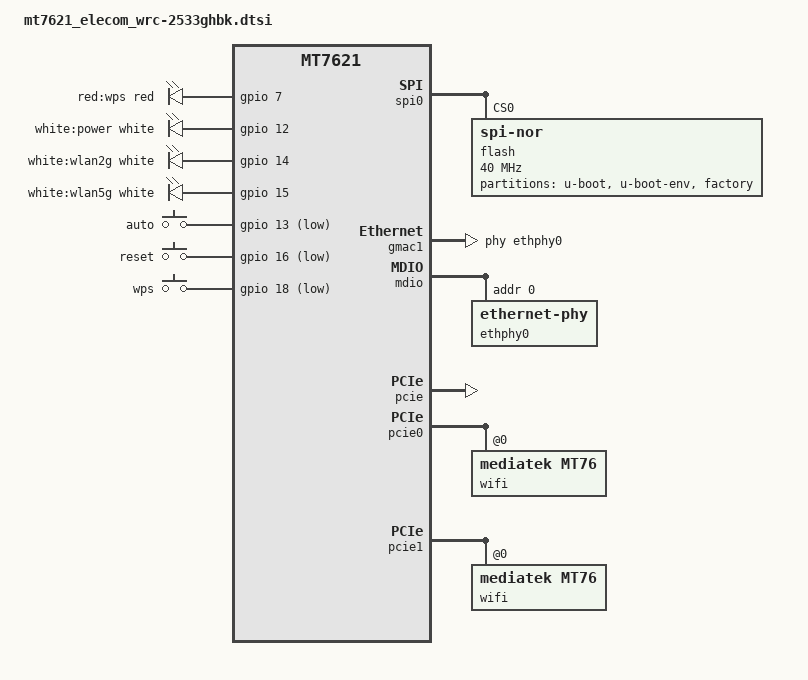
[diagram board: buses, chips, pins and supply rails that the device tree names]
// SPDX-License-Identifier: GPL-2.0-or-later OR MIT

#include "mt7621.dtsi"

#include <dt-bindings/gpio/gpio.h>
#include <dt-bindings/input/input.h>
#include <dt-bindings/leds/common.h>

/ {
	aliases {
		led-boot = &led_power;
		led-failsafe = &led_power;
		led-running = &led_power;
		led-upgrade = &led_power;
	};

	leds {
		compatible = "gpio-leds";

		wps {
			label = "red:wps";
			gpios = <&gpio 7 GPIO_ACTIVE_HIGH>;
			color = <LED_COLOR_ID_RED>;
			function = LED_FUNCTION_WPS;
		};

		led_power: power {
			label = "white:power";
			gpios = <&gpio 12 GPIO_ACTIVE_HIGH>;
			color = <LED_COLOR_ID_WHITE>;
			function = LED_FUNCTION_POWER;
		};

		wlan2g {
			label = "white:wlan2g";
			gpios = <&gpio 14 GPIO_ACTIVE_HIGH>;
			color = <LED_COLOR_ID_WHITE>;
			function = LED_FUNCTION_WLAN;
			function-enumerator = <1>;
			linux,default-trigger = "phy0tpt";
		};

		wlan5g {
			label = "white:wlan5g";
			gpios = <&gpio 15 GPIO_ACTIVE_HIGH>;
			color = <LED_COLOR_ID_WHITE>;
			function = LED_FUNCTION_WLAN;
			function-enumerator = <2>;
			linux,default-trigger = "phy1tpt";
		};
	};

	keys {
		compatible = "gpio-keys";

		auto {
			label = "auto";
			gpios = <&gpio 13 GPIO_ACTIVE_LOW>;
			linux,code = <BTN_0>;
			linux,input-type = <EV_SW>;
		};

		reset {
			label = "reset";
			gpios = <&gpio 16 GPIO_ACTIVE_LOW>;
			linux,code = <KEY_RESTART>;
		};

		wps {
			label = "wps";
			gpios = <&gpio 18 GPIO_ACTIVE_LOW>;
			linux,code = <KEY_WPS_BUTTON>;
		};
	};
};

&spi0 {
	status = "okay";

	flash@0 {
		compatible = "jedec,spi-nor";
		reg = <0>;
		spi-max-frequency = <40000000>;

		partitions: partitions {
			compatible = "fixed-partitions";
			#address-cells = <1>;
			#size-cells = <1>;

			partition@0 {
				label = "u-boot";
				reg = <0x0 0x30000>;
				read-only;
			};

			partition@30000 {
				label = "u-boot-env";
				reg = <0x30000 0x10000>;
				read-only;
			};

			factory: partition@40000 {
				label = "factory";
				reg = <0x40000 0x10000>;
				read-only;
			};
		};
	};
};

&gmac1 {
	status = "okay";
	label = "wan";
	phy-handle = <&ethphy0>;
};

&mdio {
	ethphy0: ethernet-phy@0 {
		reg = <0>;
	};
};

&switch0 {
	ports {
		port@1 {
			status = "okay";
			label = "lan4";
		};

		port@2 {
			status = "okay";
			label = "lan3";
		};

		port@3 {
			status = "okay";
			label = "lan2";
		};

		port@4 {
			status = "okay";
			label = "lan1";
		};
	};
};

&state_default {
	gpio {
		groups = "uart2", "uart3", "jtag", "wdt";
		function = "gpio";
	};
};

&pcie {
	status = "okay";
};

&pcie0 {
	wifi@0,0 {
		compatible = "mediatek,mt76";
		reg = <0x0000 0 0 0 0>;
		mediatek,mtd-eeprom = <&factory 0x0>;
		ieee80211-freq-limit = <2400000 2500000>;
	};
};

&pcie1 {
	wifi@0,0 {
		compatible = "mediatek,mt76";
		reg = <0x0000 0 0 0 0>;
		mediatek,mtd-eeprom = <&factory 0x8000>;
		ieee80211-freq-limit = <5000000 6000000>;
	};
};

&xhci {
	status = "disabled";
};
